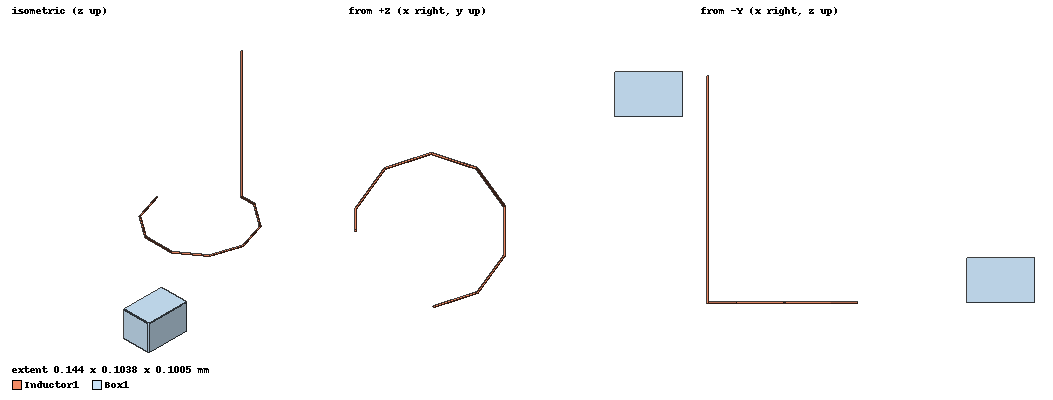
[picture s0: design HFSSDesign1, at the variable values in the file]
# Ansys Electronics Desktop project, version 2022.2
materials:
  vacuum: permittivity=1
  copper: permeability=0.999991 conductivity=58000000

design HFSSDesign1 (HFSS, DrivenTerminal, model units mm)
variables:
  a = 32um
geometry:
  Inductor1 [copper] = polyline((0.4854102um, -33.368585um, 0um) (19.891677um, -27.063107um, 0um) (a, -10.39743um, 0um) (32um, 10.39743um, 0um) (19.662498um, 27.378545um, 0um) (-0.4854102um, 33.924997um, 0um) (-20.818728um, 27.318302um, 0um) (-33.5um, 9.8640289um, 0um) (-33.5um, 0um, 0um) (-33.5um, 0um, 100um), section circle width=1um)
  Polyline1 = polyline((-40um, 60um, 0um) (-25um, 75um, 0um) (-45um, 80um, 0um) (-70um, 65um, 0um) (-80um, 85um, 0um) (-90um, 65um, 0um) (-105um, 80um, 0um) (-105um, 45um, 0um) (-0.073776575mm, 0.054339978mm, 0mm) (-0.06639479mm, 0.022596527mm, 0mm) (-130um, 25um, 0um) (-150um, 35um, 0um) (-140um, 55um, 0um), Spline from point 2 over 5, AngularArc from point 7 over 3 centre=(-85um, 35um, 0um) angle=-187.12502deg plane=XY, Arc from point 10 over 3)
  Box1 [vacuum] = box(corner=(80um, 50um, 0um), size=(30um, 20um, 20um))
  Polyline2 = polyline((-180um, -5um, 0um) (-0.16703006mm, -0.03247838mm, 0mm) (-0.13697224mm, -0.028027756mm, 0mm), AngularArc from point 0 over 3 centre=(-155um, -10um, 0um) angle=146.30993deg plane=XY)
